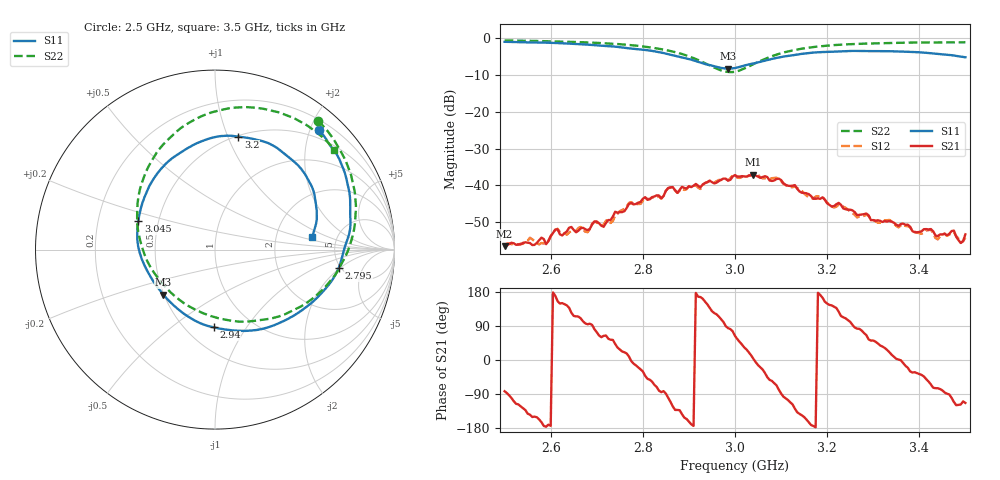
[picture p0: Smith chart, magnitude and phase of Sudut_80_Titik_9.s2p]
# Hz S RI R 50
! CMT, C1220, 16058040, 17.2.0/1
! Date: 15/08/2018 09:46:59
! Data: Format (Calibration Info)
! Freq  S11: Re/Im (F2)  S21: Re/Im (F2)  S12: Re/Im (F2)  S22: Re/Im (F2)
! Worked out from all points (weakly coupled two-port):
!   201 points, 2.5 GHz to 3.5 GHz, reference 50 ohm
!   highest |S21| = -37.12 dB at 3.04 GHz (marker M1); lowest = -56.5 dB at 2.5 GHz (marker M2)
!   lowest |S11| = -8.4 dB at 2.985 GHz (marker M3), VSWR 2.24, Z = 24.8 - j14.6 ohm
!   |S11| at or under -10 dB: nowhere
!   |S22| runs from -9.3 to -0.7 dB; largest |S21 - S12| = 0.0012
!   S11 on the Smith chart (normalised r, x): 2.5 GHz: 0.36, +2.14; 2.795 GHz: 4.82, -1.90; 2.94 GHz: 0.68, -0.72; 3.045 GHz: 0.38, +0.15; 3.2 GHz: 0.51, +1.09; 3.5 GHz: 3.26, +0.63
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2.5e9  0.5781 0.6663  0.0002 -0.00149  0.00025 -0.00156  0.5754 0.7174
2.59e9  0.6877 0.5139  -0.0016 -0.000109  -0.0016 -0.000269  0.6724 0.5961
2.61e9  0.7048 0.4748  -0.00248 0.000465  -0.00246 0.000442  0.6927 0.5622
2.67e9  0.7483 0.3218  -0.000568 0.00261  -0.000361 0.00252  0.7478 0.4445
2.715e9  0.7538 0.186  0.00122 0.00247  0.00121 0.00268  0.7765 0.3335
2.77e9  0.7189 -0.000564  0.00555 0.000863  0.00576 0.000745  0.7816 0.1649
2.795e9  0.6895 -0.1016  0.00543 -0.0025  0.00507 -0.00242  0.7668 0.0759
2.835e9  0.5892 -0.2472  0.00116 -0.00721  0.00131 -0.00694  0.7043 -0.0801
2.94e9  -0.00723 -0.433  -0.00929 0.00606  -0.00939 0.00579  0.1754 -0.4014
2.985e9  -0.2876 -0.2512  0.00121 0.0115  0.000757 0.0117  -0.1786 -0.2945
3e9  -0.3576 -0.1537  0.00615 0.0124  0.00686 0.0121  -0.2786 -0.2056
3.04e9  -0.4313 0.1228  0.0139 0.000702  0.0143 0.0013  -0.4276 0.0981
3.045e9  -0.4277 0.1572  0.0135 -0.00136  0.0143 -0.00128  -0.433 0.1394
3.105e9  -0.2608 0.4909  -0.00126 -0.0107  -0.00154 -0.0104  -0.3251 0.54
3.17e9  0.0149 0.6302  -0.00656 -0.000677  -0.00655 -0.00113  -0.0693 0.7456
3.2e9  0.13 0.6297  -0.00489 0.00295  -0.00484 0.00325  0.044 0.7802
3.335e9  0.4817 0.4476  0.00309 0.00116  0.00324 0.00107  0.4178 0.7413
3.425e9  0.5616 0.2567  0.00111 -0.00231  0.00104 -0.0023  0.5725 0.6481
3.44e9  0.5669 0.2162  0.000548 -0.00198  0.00049 -0.00179  0.5944 0.6301
3.475e9  0.5592 0.1298  -0.000863 -0.00228  -0.000723 -0.00221  0.6369 0.5893
3.49e9  0.5484 0.0919  -0.000762 -0.00147  -0.000844 -0.00146  0.6542 0.5705
3.5e9  0.5402 0.0684  -0.00086 -0.002  -0.000859 -0.00177  0.6656 0.5577
